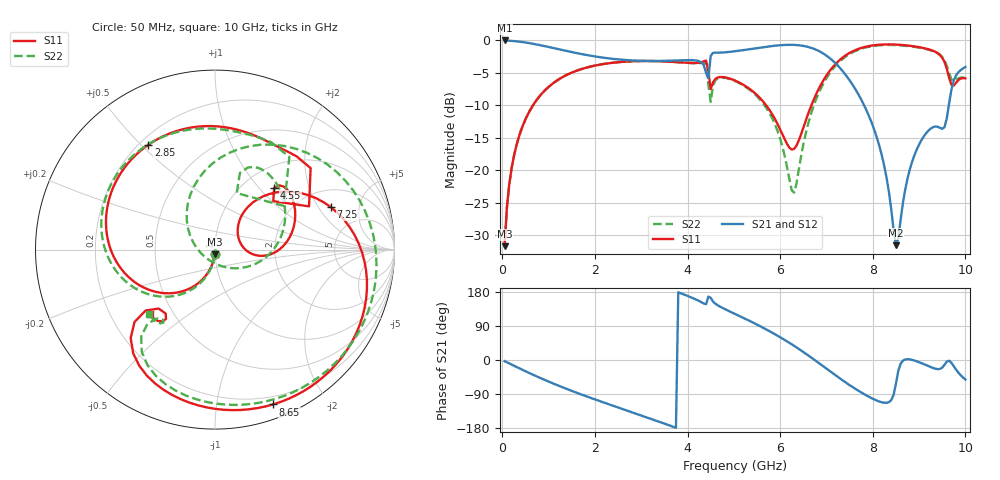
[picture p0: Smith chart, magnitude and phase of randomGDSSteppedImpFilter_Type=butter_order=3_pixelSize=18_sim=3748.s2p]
! freq	dB(S11)	phase(S11)	dB(S12)	phase(S12)
!  dB(S21)	phase(S21)	dB(S22)	phase(S22)
!S-par simulation data
#  GHz  S  DB  R 50
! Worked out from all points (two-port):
!   200 points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, 50 MHz to 10 GHz, reference 50 ohm
!   highest |S21| = -0.01 dB at 50 MHz (marker M1); lowest = -31.5 dB at 8.5 GHz (marker M2)
!   |S21| within 3 dB of the highest: start of sweep to 2.644 GHz; 4.491 GHz to 7.117 GHz (2.626 GHz wide, 45.2 % of centre)
!   lowest |S11| = -31.7 dB at 50 MHz (marker M3), VSWR 1.05, Z = 49.8 - j2.6 ohm
!   |S11| at or under -10 dB: start of sweep to 662.1 MHz; 5.699 GHz to 6.674 GHz (974.4 MHz wide, 15.8 % of centre)
!   |S22| runs from -31.7 to -0.7 dB; largest |S21 - S12| = 0
!   S11 on the Smith chart (normalised r, x): 50 MHz: 1.00, -0.05; 2.85 GHz: 0.23, +0.53; 4.55 GHz: 1.36, +1.21; 7.25 GHz: 2.92, +2.61; 8.65 GHz: 0.13, -1.44; 10 GHz: 0.37, -0.36
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0.05  -31.66 -93.3  -0.01 -3.0  -0.01 -3.0  -31.65 -93.1
0.2  -19.72 -103.0  -0.07 -12.1  -0.07 -12.1  -19.71 -102.0
0.5  -12.15 -121.5  -0.32 -29.6  -0.32 -29.6  -12.14 -118.9
1.05  -6.85 -152.8  -1.09 -59.5  -1.09 -59.5  -6.85 -147.4
1.75  -4.32 172.0  -2.15 -92.9  -2.15 -92.9  -4.31 -179.1
2.85  -3.20 122.5  -3.10 -139.9  -3.10 -139.9  -3.19 136.7
3.4  -3.20 98.1  -3.16 -163.4  -3.16 -163.4  -3.20 114.4
4.4  -3.10 40.4  -4.99 147.3  -4.99 147.3  -3.58 51.3
4.45  -4.78 24.7  -5.84 167.5  -5.84 167.5  -6.84 32.2
4.55  -6.45 46.2  -1.91 154.3  -1.91 154.3  -6.95 72.0
5.05  -6.25 23.3  -1.64 120.2  -1.64 120.2  -6.33 39.7
5.8  -11.04 -6.9  -0.88 74.0  -0.88 74.0  -11.60 -13.8
6.3  -16.69 26.8  -0.69 37.5  -0.69 37.5  -23.42 -134.4
6.7  -9.53 51.4  -1.21 4.0  -1.21 4.0  -10.56 120.8
7.25  -3.25 20.0  -3.92 -45.1  -3.92 -45.1  -3.50 61.0
7.8  -1.06 -18.0  -9.79 -89.2  -9.79 -89.2  -1.17 10.3
8.35  -0.61 -52.1  -23.39 -111.1  -23.39 -111.1  -0.70 -32.7
8.5  -0.64 -60.8  -31.50 -63.0  -31.50 -63.0  -0.72 -43.5
8.65  -0.71 -69.4  -25.06 -1.8  -25.06 -1.8  -0.79 -54.1
9.25  -1.47 -106.4  -13.57 -18.6  -13.57 -18.6  -1.51 -97.2
9.65  -5.78 -138.7  -9.61 -1.9  -9.61 -1.9  -5.08 -132.3
10  -5.84 -135.4  -4.08 -51.6  -4.08 -51.6  -5.79 -135.5
